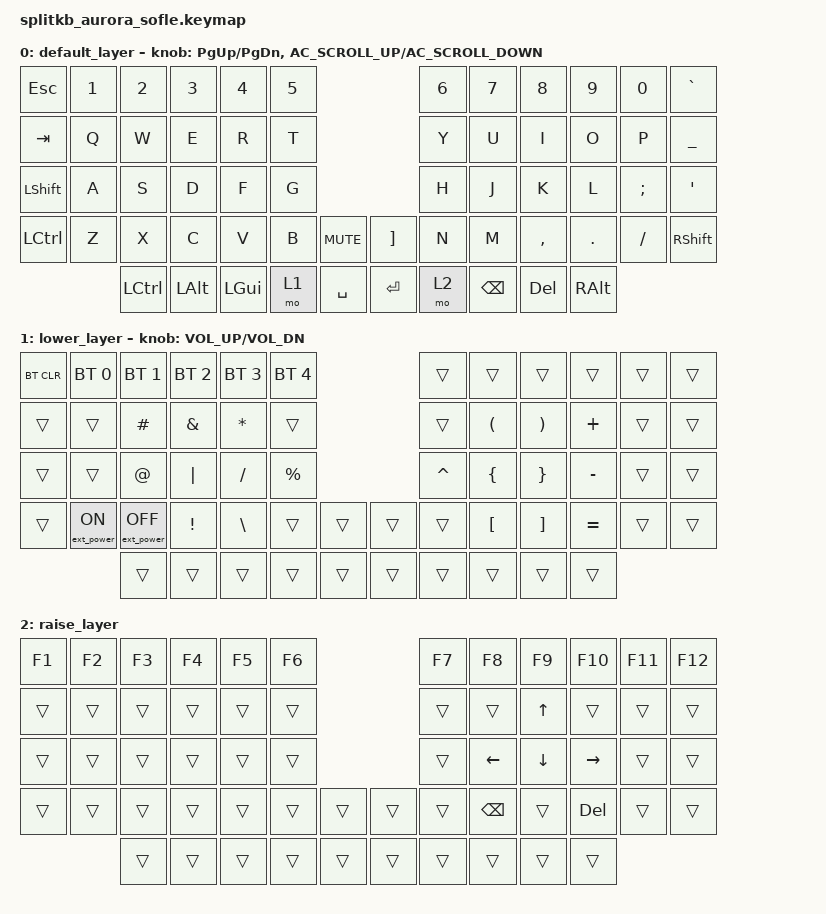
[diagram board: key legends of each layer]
/*
 * Copyright (c) 2023 The ZMK Contributors
 *
 * SPDX-License-Identifier: MIT
 */

#include <behaviors.dtsi>
#include <dt-bindings/zmk/bt.h>
#include <dt-bindings/zmk/ext_power.h>
#include <dt-bindings/zmk/keys.h>

/* Uncomment this block if using RGB
&led_strip {
    chain-length = <6>;
    // chain-length = <35>; // Uncomment if using both per-key and underglow LEDs
    // chain-length = <29>; // Uncomment if using only per-key LEDs.
};
 */

/ {
    keymap {
        compatible = "zmk,keymap";

        default_layer {
            // ------------------------------------------------------------------------------------------------------------
            // |  ESC  |  1  |  2  |  3   |  4   |  5   |                   |  6   |  7    |  8    |  9   |   0   |   `   |
            // |  TAB  |  Q  |  W  |  E   |  R   |  T   |                   |  Y   |  U    |  I    |  O   |   P   |   -   |
            // |  CTRL |  A  |  S  |  D   |  F   |  G   |                   |  H   |  J    |  K    |  L   |   ;   |   '   |
            // | SHIFT |  Z  |  X  |  C   |  V   |  B   |   "["  |  |  "]"  |  N   |  M    |  ,    |  .   |   /   | SHIFT |
            //               |CTRL | ALT  | GUI  | LOWER|  SPACE |  | ENTER | RAISE| BSPC  | GUI   | RALT |

            bindings = <
&kp ESC         &kp N1  &kp N2     &kp N3    &kp N4    &kp N5                          &kp N6  &kp N7    &kp N8      &kp N9    &kp N0    &kp GRAVE
&kp TAB         &kp Q   &kp W      &kp E     &kp R     &kp T                           &kp Y   &kp U     &kp I       &kp O     &kp P     &kp UNDERSCORE
&kp LEFT_SHIFT  &kp A   &kp S      &kp D     &kp F     &kp G                           &kp H   &kp J     &kp K       &kp L     &kp SEMI  &kp SQT
&kp LCTRL       &kp Z   &kp X      &kp C     &kp V     &kp B   &kp K_MUTE    &kp RBKT  &kp N   &kp M     &kp COMMA   &kp DOT   &kp FSLH  &kp RSHFT
                        &kp LCTRL  &kp LALT  &kp LGUI  &mo 1   &kp SPACE     &kp RET   &mo 2   &kp BSPC  &kp DELETE  &kp RALT
            >;

            sensor-bindings =
                <&inc_dec_kp PG_UP PG_DN>,
                <&inc_dec_kp C_AC_SCROLL_UP C_AC_SCROLL_DOWN>;
        };

        lower_layer {
            // ------------------------------------------------------------------------------------------------------------
            // | BTCLR | BT1 | BT2 |  BT3 |  BT4 |  BT5 |                   |      |       |       |      |       |       |
            // |  F1   |  F2 |  F3 |  F4  |  F5  |  F6  |                   |  F7  |  F8   |  F9   |  F10 |  F11  |  F12  |
            // |   `   |  !  |  @  |  #   |  $   |  %   |                   |  ^   |  &    |  *    |  (   |   )   |   ~   |
            // |       |     |     |      |      |      |        |  |       |      |  _    |  +    |  {   |   }   |  "|"  |
            //               |     |      |      |      |        |  |       |      |       |       |      |

            bindings = <
&bt BT_CLR  &bt BT_SEL 0      &bt BT_SEL 1       &bt BT_SEL 2     &bt BT_SEL 3   &bt BT_SEL 4                    &trans     &trans    &trans    &trans     &trans  &trans
&trans      &trans            &kp HASH           &kp AMPERSAND    &kp ASTERISK   &trans                          &trans     &kp LPAR  &kp RPAR  &kp PLUS   &trans  &trans
&trans      &trans            &kp AT             &kp PIPE         &kp SLASH      &kp PRCNT                       &kp CARET  &kp LBRC  &kp RBRC  &kp MINUS  &trans  &trans
&trans      &ext_power EP_ON  &ext_power EP_OFF  &kp EXCLAMATION  &kp BACKSLASH  &trans        &trans    &trans  &trans     &kp LBKT  &kp RBKT  &kp EQUAL  &trans  &trans
                              &trans             &trans           &trans         &trans        &trans    &trans  &trans     &trans    &trans    &trans
            >;

            sensor-bindings = <&inc_dec_kp C_VOL_UP C_VOL_DN>;
        };

        raise_layer {
            bindings = <
&kp F1  &kp F2  &kp F3  &kp F4  &kp F5  &kp F6                    &kp F7  &kp F8    &kp F9    &kp F10    &kp F11  &kp F12
&trans  &trans  &trans  &trans  &trans  &trans                    &trans  &trans    &kp UP    &trans     &trans   &trans
&trans  &trans  &trans  &trans  &trans  &trans                    &trans  &kp LEFT  &kp DOWN  &kp RIGHT  &trans   &trans
&trans  &trans  &trans  &trans  &trans  &trans  &trans    &trans  &trans  &kp BSPC  &trans    &kp DEL    &trans   &trans
                &trans  &trans  &trans  &trans  &trans    &trans  &trans  &trans    &trans    &trans
            >;
        };
    };
};
